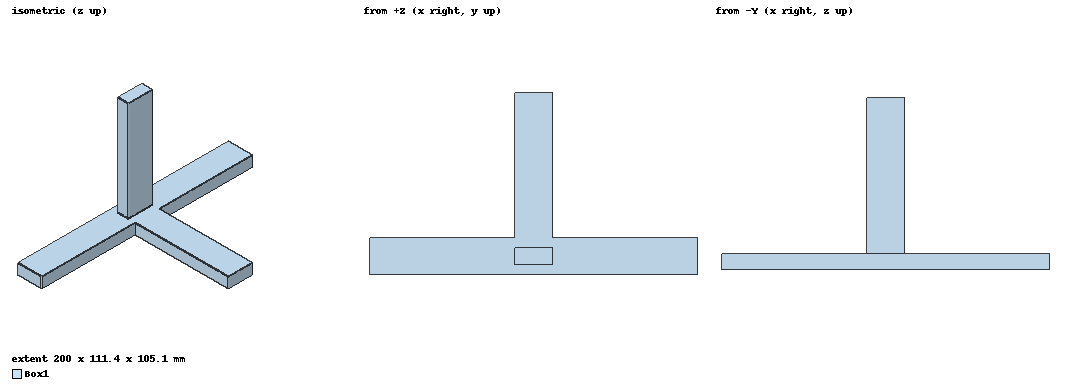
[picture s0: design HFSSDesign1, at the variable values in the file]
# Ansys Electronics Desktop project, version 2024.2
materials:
  vacuum: permittivity=1

design HFSSDesign1 (HFSS, HFSS Modal Network, model units mm)
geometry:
  Box1 [vacuum] = box(corner=(-11.43mm, 0mm, -5.08mm), size=(22.86mm, 100mm, 10.16mm))
  Box1_1 = Box1.duplicate_around_axis(axis=Z, angle=-90deg, total=2)
  Box1_2 = Box1.duplicate_around_axis(axis=Z, angle=90deg, total=2)
  Box1_3 = Box1.duplicate_around_axis(axis=X, angle=90deg, total=2)
  Box1.unite(Box1_1, Box1_2, Box1_3)
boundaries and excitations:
  1: Wave Port Faces=Box1.face(at (100, 0, 0)) WavePortType=Default NumModes=1 Modes{Mode1{IntLine{(100, 0, 0) -> (100, 0, 5.08)} CharImp=Zpi}}
  2: Wave Port Faces=Box1.face(+y) WavePortType=Default NumModes=1 Modes{Mode1{IntLine{(0, 100, 0) -> (0, 100, 5.08)} CharImp=Zpi}}
  3: Wave Port Faces=Box1.face(at (-100, 0, 0)) WavePortType=Default NumModes=1 Modes{Mode1{IntLine{(-100, 0, 0) -> (-100000mm, 0mm, 5000mm)} CharImp=Zpi}}
  4: Wave Port Faces=Box1.face(at (0, 0, 100)) WavePortType=Default NumModes=1 Modes{Mode1{IntLine{(0, 0, 100) -> (0, 5.08, 100)} CharImp=Zpi}}
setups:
  Setup1: HfssDriven Frequency=10GHz MaxDeltaS=0.02 MaximumPasses=10 MinimumPasses=1 MinimumConvergedPasses=1 PercentRefinement=30 BasisOrder=1 PortAccuracy=2 DrivenSolverType="Direct Solver"
    sweep Sweep: 5GHz to 15GHz, 401 points; Type=Interpolating InterpTolerance=0.5 InterpMaxSolns=250 InterpUsePortImped=false PassivityErrorTolerance=0.0001
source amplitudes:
  1:1: 1W 0deg
  2:1, 3:1, 4:1: 0W 0deg
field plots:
  Mag_H1: H Field in Box1 on Setup1 : LastAdaptive at Freq=10GHz Phase=0deg
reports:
  S Parameter Plot 1: dB(S(2,1)), dB(S(1,1)), dB(S(3,1)), dB(S(4,1)) vs Freq on Setup1 : Sweep
